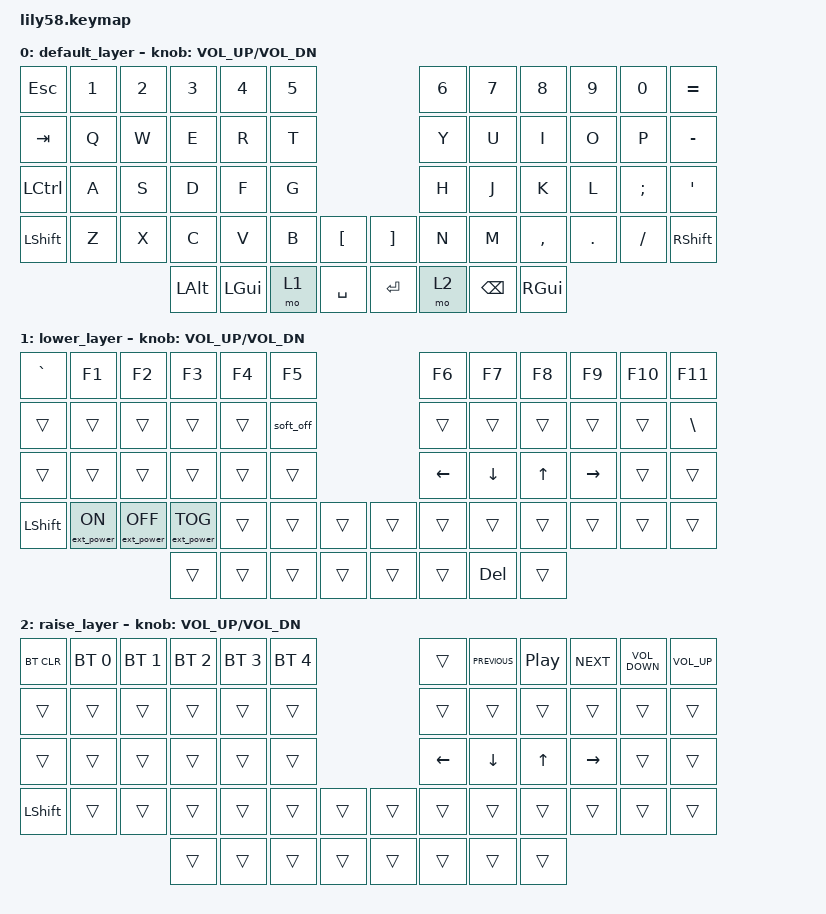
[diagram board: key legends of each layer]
/*
 * Copyright (c) 2020 The ZMK Contributors
 *
 * SPDX-License-Identifier: MIT
 */

#include <behaviors.dtsi>
#include <dt-bindings/zmk/keys.h>
#include <dt-bindings/zmk/bt.h>
#include <dt-bindings/zmk/ext_power.h>

&soft_off {
    hold-time-ms = <2000>; // Only turn off it the key is held for 5 seconds or longer.
};

/ {
    keymap {
        compatible = "zmk,keymap";

        default_layer {
// ------------------------------------------------------------------------------------------------------------
// |  ESC  |  1  |  2  |  3   |  4   |  5   |                   |  6   |  7    |  8    |  9   |   0   |   =   |
// |  TAB  |  Q  |  W  |  E   |  R   |  T   |                   |  Y   |  U    |  I    |  O   |   P   |   -   |
// |  CTRL |  A  |  S  |  D   |  F   |  G   |                   |  H   |  J    |  K    |  L   |   ;   |   '   |
// | SHIFT |  Z  |  X  |  C   |  V   |  B   |   "["  |  |  "]"  |  N   |  M    |  ,    |  .   |   /   | SHIFT |
//                     | ALT  | GUI  | LOWER|  SPACE |  | ENTER | RAISE| BSPC  | GUI   |
            bindings = <
&kp ESC   &kp N1 &kp N2 &kp N3   &kp N4   &kp N5                     &kp N6 &kp N7   &kp N8    &kp N9  &kp N0   &kp EQUAL
&kp TAB   &kp Q  &kp W  &kp E    &kp R    &kp T                      &kp Y  &kp U    &kp I     &kp O   &kp P    &kp MINUS
&kp LCTRL &kp A  &kp S  &kp D    &kp F    &kp G                      &kp H  &kp J    &kp K     &kp L   &kp SEMI &kp SQT
&kp LSHFT &kp Z  &kp X  &kp C    &kp V    &kp B  &kp LBKT   &kp RBKT &kp N  &kp M    &kp COMMA &kp DOT &kp FSLH &kp RSHFT
                        &kp LALT &kp LGUI &mo 1  &kp SPACE  &kp RET  &mo 2  &kp BSPC &kp RGUI
            >;

            sensor-bindings = <&inc_dec_kp C_VOL_UP C_VOL_DN>;
        };

        lower_layer {
// ------------------------------------------------------------------------------------------------------------
// |   `   |  F1 |  F2 |  F3  |  F4  |  F5  |                   |  F6  |  F7   |  F8   |  F9  |  F10  |  F16  |
// |       |     |     |      |      |soft_off|                 |      |       |       |      |       |   \   |
// |       |     |     |      |      |      |                   |  <-  |   v   |   ^   |  ->  |       |       |
// | SHIFT |     |     |      |      |      |        |  |       |      |       |       |      |       |       |
//                     |      |      |      |        |  |       |      |  DEL  |       |
            bindings = <
&kp GRAVE  &kp F1     		&kp F2            &kp F3            &kp F4       &kp F5    &kp F6                       &kp F7    &kp F8    &kp F9    &kp F10   &kp F11
&trans     &trans 			&trans			  &trans  			&trans  	 &soft_off   					  &trans   	&trans    &trans	&trans	  &trans 	&kp BACKSLASH
&trans     &trans 			&trans			  &trans  			&trans  	 &trans   					  &kp LEFT  &kp DOWN  &kp UP    &kp RIGHT &trans 	&trans
&kp LSHFT  &ext_power EP_ON &ext_power EP_OFF &ext_power EP_TOG &trans       &trans    &trans   &trans    &trans   	&trans    &trans	&trans 	  &trans 	&trans
                                              &trans            &trans       &trans    &trans   &trans    &trans    &kp DEL    &trans
            >;

            sensor-bindings = <&inc_dec_kp C_VOL_UP C_VOL_DN>;
        };

        raise_layer {
// ------------------------------------------------------------------------------------------------------------
// | BTCLR | BT1 | BT2 |  BT3 |  BT4 |  BT5 |                   |      | PRVS  |PLAY/PS| NEXT |   -   	 |   +   |
// |       |     |     |      |      |      |                   |      |       |       |      |          |       |
// |       |     |     |      |      |      |                   |  <-  |   v   |   ^   |  ->  |      	 |       |
// | SHIFT |     |     |      |      |      |        |  |       |      |       |       |      | 	 |	 |
//                     |      |      |      |        |  |       |      |       |       |
            bindings = <
&bt BT_CLR 	&bt BT_SEL 0     &bt BT_SEL 1   &bt BT_SEL 2    &bt BT_SEL 3 &bt BT_SEL 4                       &trans      &kp C_PREVIOUS 	&kp C_PLAY_PAUSE 	&kp C_NEXT 		&kp C_VOLUME_DOWN 	&kp C_VOLUME_UP
&trans 		&trans			 &trans 		&trans  		&trans  	 &trans                       	 	&trans	 	&trans			&trans 				&trans  		&trans  			&trans
&trans    	&trans			 &trans 		&trans  		&trans  	 &trans                       		&kp LEFT  	&kp DOWN  		&kp UP    			&kp RIGHT  		&trans				&trans
&kp LSHFT   &trans 			 &trans			&trans  		&trans  	 &trans   &trans   		&trans    	&trans	 	&trans			&trans 				&trans  		&trans  			&trans
											&trans 			&trans  	 &trans   &trans   		&trans    	&trans      &trans    		&trans
            >;

            sensor-bindings = <&inc_dec_kp C_VOL_UP C_VOL_DN>;
        };
    };
};
